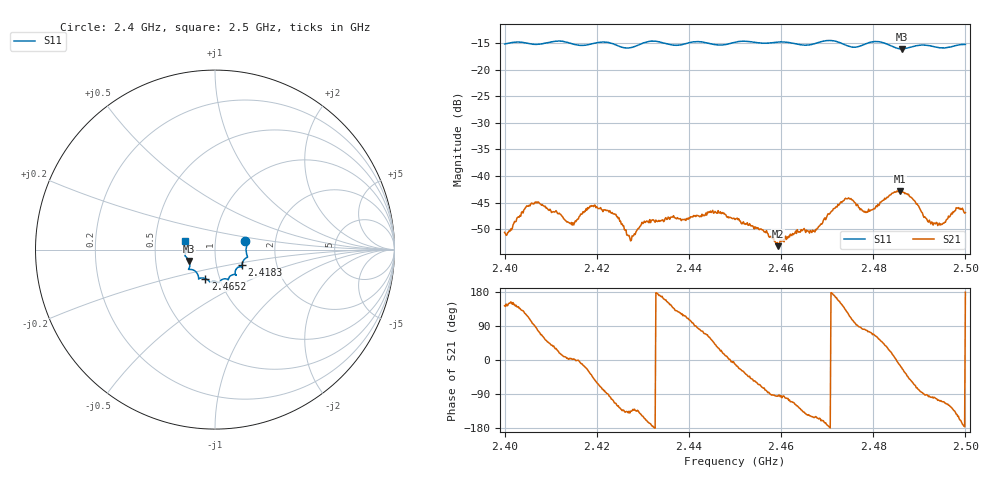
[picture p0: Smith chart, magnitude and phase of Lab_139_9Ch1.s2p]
# Hz S RI R 50
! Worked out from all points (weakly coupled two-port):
!   601 points, 2.4 GHz to 2.5 GHz, reference 50 ohm
!   highest |S21| = -42.80 dB at 2.4858 GHz (marker M1); lowest = -53.2 dB at 2.4593 GHz (marker M2)
!   lowest |S11| = -16.1 dB at 2.4862 GHz (marker M3), VSWR 1.37, Z = 37.2 - j4.85 ohm
!   |S11| at or under -10 dB: start of sweep to end of sweep
!   S12 and S22 are empty: the file has one direction only
!   S11 on the Smith chart (normalised r, x): 2.4 GHz: 1.40, +0.13; 2.4183 GHz: 1.33, -0.24; 2.4652 GHz: 0.85, -0.28; 2.5 GHz: 0.71, +0.07
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2.4e9  0.168 0.0467  -0.00236 0.00177  0 0  0 0
2.406167e9  0.1733 0.00723  -0.000513 0.00551  0 0  0 0
2.4145e9  0.1693 -0.0492  0.00365 0.000252  0 0  0 0
2.416667e9  0.1549 -0.0679  0.00429 -0.000754  0 0  0 0
2.418333e9  0.1498 -0.0863  0.00428 -0.00263  0 0  0 0
2.423833e9  0.1443 -0.096  -0.00175 -0.00404  0 0  0 0
2.427e9  0.1184 -0.1079  -0.00197 -0.00194  0 0  0 0
2.430333e9  0.1145 -0.1384  -0.00339 -0.00163  0 0  0 0
2.433333e9  0.1172 -0.1414  -0.00373 0.000442  0 0  0 0
2.444667e9  0.0645 -0.1633  0.00259 0.0039  0 0  0 0
2.45e9  0.0256 -0.1796  0.00383 -0.000742  0 0  0 0
2.459333e9  -0.0243 -0.1802  -0.000218 -0.00218  0 0  0 0
2.465167e9  -0.0544 -0.1612  -0.0024 -0.00199  0 0  0 0
2.466667e9  -0.0708 -0.1576  -0.00254 -0.00149  0 0  0 0
2.474167e9  -0.0954 -0.14  -0.00384 0.00477  0 0  0 0
2.478333e9  -0.1358 -0.1104  0.000858 0.00446  0 0  0 0
2.483333e9  -0.1415 -0.097  0.00572 0.00293  0 0  0 0
2.485833e9  -0.1421 -0.0675  0.00702 -0.00179  0 0  0 0
2.486167e9  -0.1435 -0.0636  0.00673 -0.00246  0 0  0 0
2.493e9  -0.1643 -0.0198  -0.000627 -0.0034  0 0  0 0
2.498333e9  -0.166 0.038  -0.00427 -0.00257  0 0  0 0
2.5e9  -0.1663 0.0475  -0.00452 8.39e-05  0 0  0 0
